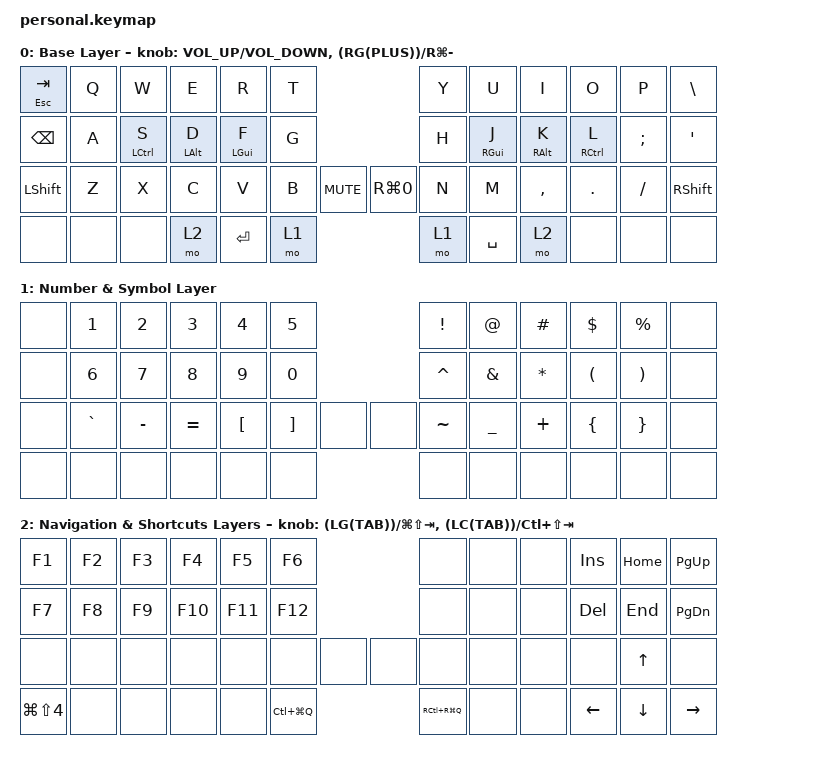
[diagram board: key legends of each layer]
/*
 * Copyright (c) 2020 The ZMK Contributors
 *
 * SPDX-License-Identifier: MIT
 */

#include "zmk-helpers/helper.h"
#include "includes/cornix54.h"

// tap windows for ctl alt and gui

#define HM_TAPPING_TERM 250
#define HM_TAPPING_REPEAT 210

// quick tapping for shift

#define HM_TAPPING_TERM_FAST 200
#define HM_PRIOR_IDLE 70
#define BASE 0
#define WIN 1
#define LOWER 2
#define RAISE 3
#define ADJUST 4
#define NAVI   5
#define NUM    6
#define DEBUG  7

// https://github.com/urob/zmk-config/tree/main#timeless-homerow-mods

#define KEYS_L LT0 LT1 LT2 LT3 LT4 LT5 LM0 LM1 LM2 LM3 LM4 LM5 LB0 LB1 LB2 LB3 LB4 LB5  // left hand
#define KEYS_R RT0 RT1 RT2 RT3 RT4 RT5 RM0 RM1 RM2 RM3 RM4 RM5 RB0 RB1 RB2 RB3 RB4 RB5  // right hand
#define THUMBS LH1 LH0 RH0 RH1
#define KEYS_T LH1 LH0 RH0 RH1
#define ZMK_POINTING_DEFAULT_SCRL_VAL 15

#include <behaviors.dtsi>
#include <dt-bindings/zmk/keys.h>

/ {
    // Activate ADJUST layer by pressing raise and lower

    behaviors {
        hm_l: homerow_mods_left {
            compatible = "zmk,behavior-hold-tap";
            #binding-cells = <2>;
            bindings = <&kp>, <&kp>;

            flavor = "balanced";
            tapping-term-ms = <HM_TAPPING_TERM>;
            quick-tap-ms = <200>;                // repeat on tap-into-hold
            require-prior-idle-ms = <HM_PRIOR_IDLE>;
            hold-trigger-key-positions = <KEYS_R KEYS_T>;
            hold-trigger-on-release;
        };

        hm_r: homerow_mods_right {
            compatible = "zmk,behavior-hold-tap";
            #binding-cells = <2>;
            bindings = <&kp>, <&kp>;

            flavor = "balanced";
            tapping-term-ms = <HM_TAPPING_TERM>;
            quick-tap-ms = <200>;
            require-prior-idle-ms = <HM_PRIOR_IDLE>;
            hold-trigger-key-positions = <KEYS_L KEYS_T>;
            hold-trigger-on-release;
        };

        // Positional Homerow mods for shift
        // Use faster tapping term and disable some features that may
        // cause false negatives.

        hm_shift_l: hm_shift_l {
            compatible = "zmk,behavior-hold-tap";
            #binding-cells = <2>;
            bindings = <&kp>, <&kp>;

            //flavor = "balanced";

            flavor = "balanced";
            tapping-term-ms = <HM_TAPPING_TERM_FAST>;
            quick-tap-ms = <200>;
            require-prior-idle-ms = <HM_PRIOR_IDLE>;
            hold-trigger-key-positions = <KEYS_R KEYS_T>;
            hold-trigger-on-release;
        };

        hm_shift_r: hm_shift_r {
            compatible = "zmk,behavior-hold-tap";
            #binding-cells = <2>;
            bindings = <&kp>, <&kp>;

            flavor = "balanced";
            tapping-term-ms = <HM_TAPPING_TERM_FAST>;
            quick-tap-ms = <200>;
            require-prior-idle-ms = <HM_PRIOR_IDLE>;
            hold-trigger-key-positions = <KEYS_L KEYS_T>;

            // for quick tapping; shift+~

            hold-trigger-on-release;
        };

        /*
         * Non-Positional Homerow Mods
         * Used for &mm_grescm_gui behavior on left hand.
         *
         * Usage: &hm LSHFT T
         * Tap: T
         * Tap-Tap-Hold: Repeat T
         * Hold: LSHIFT
         */

        hm: homerow_mods {
            compatible = "zmk,behavior-hold-tap";
            #binding-cells = <2>;
            bindings = <&kp>, <&kp>;

            flavor = "balanced";
            tapping-term-ms = <HM_TAPPING_TERM>;
            quick-tap-ms = <200>;
        };

        lt: layer_tap {
            compatible = "zmk,behavior-hold-tap";
            #binding-cells = <2>;
            bindings = <&mo>, <&kp>;

            flavor = "hold-preferred";
            tapping-term-ms = <HM_TAPPING_TERM>;
            quick-tap-ms = <200>;
        };
    };

    conditional_layers { compatible = "zmk,conditional-layers"; };

    combos {
        compatible = "zmk,combos";

        cb_ltm {
            bindings = <&kp ESC>;
            key-positions = <2 4>;
        };

        cb_lm {
            bindings = <&kp TAB>;
            key-positions = <14 16>;
        };

        cb_enter {
            bindings = <&kp RET>;
            key-positions = <21 19>;
        };

        layer3 {
            bindings = <&kp N3>;
            key-positions = <5 6>;
        };

        layer4 {
            bindings = <&kp N4>;
            key-positions = <5 6>;
        };
    };

    keymap {
        compatible = "zmk,keymap";

        base {
            bindings = <
&mt ESC TAB    &kp Q  &kp W               &kp E           &kp R           &kp T                          &kp Y  &kp U            &kp I            &kp O                &kp P     &kp BACKSLASH
&kp BACKSPACE  &kp A  &hm LEFT_CONTROL S  &hm LEFT_ALT D  &hm LEFT_GUI F  &kp G                          &kp H  &hm RIGHT_GUI J  &hm RIGHT_ALT K  &hm RIGHT_CONTROL L  &kp SEMI  &kp SINGLE_QUOTE
&kp LSHFT      &kp Z  &kp X               &kp C           &kp V           &kp B  &kp K_MUTE  &kp RG(N0)  &kp N  &kp M            &kp COMMA        &kp DOT              &kp FSLH  &kp RSHFT
&none          &none  &none               &mo 2           &kp ENTER       &mo 1                          &mo 1  &kp SPACE        &mo 2            &none                &none     &none
            >;

            label = "Base Layer";
            sensor-bindings =
                <&inc_dec_kp C_VOL_UP C_VOLUME_DOWN>,
                <&inc_dec_kp (RG(PLUS)) RG(MINUS)>;
        };

        num_sym {
            bindings = <
&none  &kp N1     &kp N2     &kp N3     &kp N4    &kp N5                  &kp EXCLAMATION  &kp AT_SIGN     &kp HASH      &kp DOLLAR            &kp PERCENT            &none
&none  &kp N6     &kp N7     &kp N8     &kp N9    &kp N0                  &kp CARET        &kp AMPERSAND   &kp ASTERISK  &kp LEFT_PARENTHESIS  &kp RIGHT_PARENTHESIS  &none
&none  &kp GRAVE  &kp MINUS  &kp EQUAL  &kp LBKT  &kp RBKT  &none  &none  &kp TILDE        &kp UNDERSCORE  &kp PLUS      &kp LEFT_BRACE        &kp RIGHT_BRACE        &none
&none  &none      &none      &none      &none     &none                   &none            &none           &none         &none                 &none                  &none
            >;

            label = "Number & Symbol Layer";
        };

        nav_shortcuts {
            bindings = <
&kp F1                &kp F2  &kp F3  &kp F4   &kp F5   &kp F6                       &none          &none  &none  &kp INS         &kp HOME        &kp PAGE_UP
&kp F7                &kp F8  &kp F9  &kp F10  &kp F11  &kp F12                      &none          &none  &none  &kp DELETE      &kp END         &kp PAGE_DOWN
&none                 &none   &none   &none    &none    &none          &none  &none  &none          &none  &none  &none           &kp UP_ARROW    &none
&kp LG(LS(NUMBER_4))  &none   &none   &none    &none    &kp LC(LG(Q))                &kp RC(RG(Q))  &none  &none  &kp LEFT_ARROW  &kp DOWN_ARROW  &kp RIGHT_ARROW
            >;

            label = "Navigation & Shortcuts Layers";
            sensor-bindings =
                <&inc_dec_kp (LG(TAB)) LG(LS(TAB))>,
                <&inc_dec_kp (LC(TAB)) LC(LS(TAB))>;
        };
    };
};
